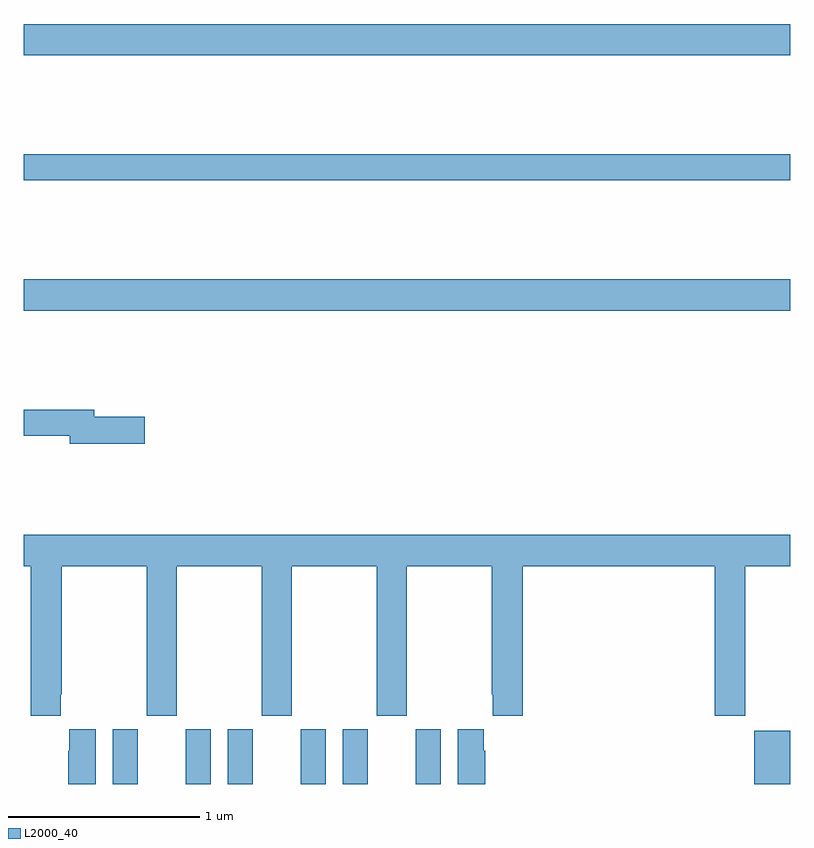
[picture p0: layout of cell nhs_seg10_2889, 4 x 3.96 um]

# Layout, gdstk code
import gdstk
lib = gdstk.Library(unit=1e-6, precision=1e-09)
def R(c, l, rs):  # rectangles x0, y0, x1, y1
    for r in rs: c.add(gdstk.rectangle(r[:2], r[2:], *l))
def P(c, l, *ps):  # polygons
    for p in ps: c.add(gdstk.Polygon(p, *l))
L2000_40 = (2000, 40)

nhs_seg10_2889 = lib.new_cell('nhs_seg10_2889')
R(nhs_seg10_2889, L2000_40, [(267.464,1312.5,267.595,1312.786), (267.845,1312.5,267.976,1312.786), (268.064,1312.5,268.195,1312.786), (268.445,1312.5,268.576,1312.786), (268.664,1312.5,268.795,1312.786), (269.045,1312.5,269.176,1312.786), (270.812,1312.5,271,1312.777), (267,1314.968,271,1315.132), (267,1315.648,271,1315.784), (267,1316.3,271,1316.464)])
P(nhs_seg10_2889, L2000_40, [(267.631,1314.416),(267.37,1314.416),(267.37,1314.452),(267,1314.452),(267,1314.316),(267.242,1314.316),(267.242,1314.274),(267.631,1314.274)],
  [(267.193,1312.969),(267.198,1312.969),(267.198,1313.636),(267.643,1313.636),(267.643,1312.857),(267.798,1312.857),(267.798,1313.636),(268.243,1313.636),(268.243,1312.857),(268.398,1312.857),(268.398,1313.636),(268.843,1313.636),(268.843,1312.857),(268.998,1312.857),(268.998,1313.636),(269.443,1313.636),(269.443,1312.969),(269.447,1312.969),(269.447,1312.857),(269.603,1312.857),(269.603,1313.636),(270.605,1313.636),(270.605,1312.857),(270.765,1312.857),(270.765,1313.636),(271,1313.636),(271,1313.8),(267,1313.8),(267,1313.636),(267.038,1313.636),(267.038,1312.857),(267.193,1312.857)],
  [(267.376,1312.786),(267.239,1312.786),(267.239,1312.673),(267.233,1312.673),(267.233,1312.5),(267.376,1312.5)],
  [(269.408,1312.673),(269.401,1312.673),(269.401,1312.786),(269.264,1312.786),(269.264,1312.5),(269.408,1312.5)])

lib.write_gds('nhs_seg10_2889.gds')
